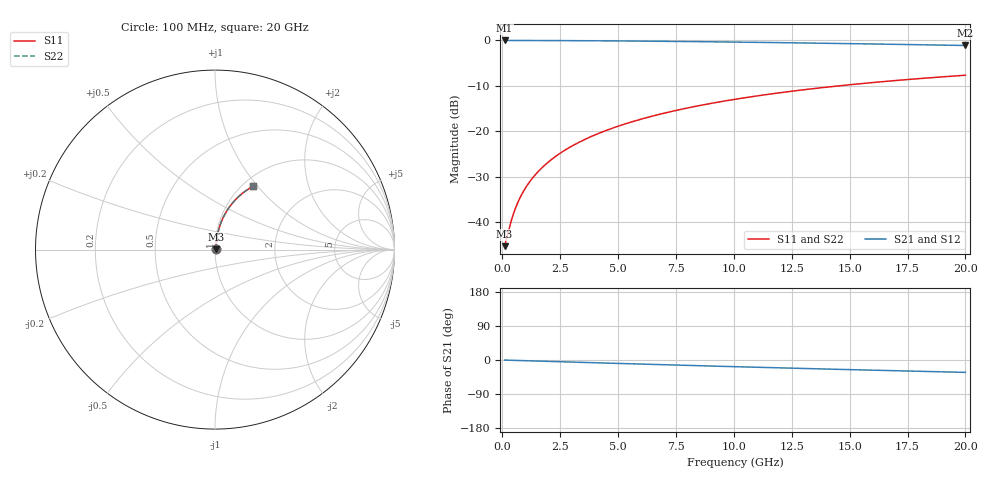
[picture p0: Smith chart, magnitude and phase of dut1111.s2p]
! Touchstone file exported from HFSS 2024.1.0
!  File:  C:/UserFiles/LocalFiles/RDL_TSV_Batchsim/temp_RDL_bottom_1111_1780054417.aedt
!  Generated:  07:36:17 PM May 29, 2026
!  Design:  RDL_bottom
!  Project:  temp_RDL_bottom_1111_1780054417
!  Setup:  Setup1
!  Solution:  Sweep
! Variables:
!  dtsv = 10.80580581um
!  hbump = 3um
!  htsv = 99.31um
!  ldown = 359.98um
!  lrdl = 100um
!  p = 40
!  p1 = 51um
!  rhole = 1um
!  t = 450um
!  tdown = 2.45um
!  trdl = 3.915915916um
!  wdown = 10.85um
!  wrdl = 20um
# GHz S MA R 50.000000
! Terminal data exported
! Port[1] = RDL1_T1
! Port[2] = RDL1_T2
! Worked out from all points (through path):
!   200 points, 100 MHz to 20 GHz, reference 50 ohm
!   highest |S21| = -0.04 dB at 100 MHz (marker M1); lowest = -1.1 dB at 20 GHz (marker M2)
!   group delay of S21, straight-line fit = 4.53 ps
!   lowest |S11| = -45.3 dB at 100 MHz (marker M3), VSWR 1.01, Z = 50.5 + j0.237 ohm
!   |S11| at or under -10 dB: start of sweep to 14.57 GHz
!   |S22| runs from -45.3 to -7.7 dB; largest |S21 - S12| = 4.4e-15
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0.1  0.005462 25.4  0.9951 -0.2  0.9951 -0.2  0.005462 25.4
! Gamma 0 0 0 0
! Port Impedance 50 0 50 0
0.3  0.008645 54.3  0.995 -0.6  0.995 -0.6  0.008645 54.3
0.4  0.01066 61.2  0.9949 -0.8  0.9949 -0.8  0.01066 61.2
0.5  0.01278 65.8  0.9948 -0.9  0.9948 -0.9  0.01278 65.8
0.6  0.01495 69.0  0.9947 -1.1  0.9947 -1.1  0.01495 69.0
0.7  0.01714 71.3  0.9946 -1.3  0.9946 -1.3  0.01714 71.3
0.9  0.02158 74.4  0.9943 -1.7  0.9943 -1.7  0.02158 74.4
1.2  0.02826 77.1  0.9939 -2.2  0.9939 -2.2  0.02826 77.1
1.4  0.03272 78.2  0.9936 -2.6  0.9936 -2.6  0.03272 78.2
1.7  0.03943 79.3  0.9931 -3.1  0.9931 -3.1  0.03943 79.3
2.2  0.05064 80.3  0.9922 -4.0  0.9922 -4.0  0.05064 80.3
2.8  0.06412 80.7  0.9908 -5.1  0.9908 -5.1  0.06412 80.7
3.5  0.07988 80.6  0.9888 -6.4  0.9888 -6.4  0.07988 80.6
4.2  0.09564 80.2  0.9865 -7.6  0.9865 -7.6  0.09564 80.3
5  0.1136 79.6  0.9834 -9.1  0.9834 -9.1  0.1136 79.6
5.9  0.1338 78.6  0.9795 -10.6  0.9795 -10.6  0.1338 78.6
6.8  0.1539 77.5  0.975 -12.2  0.975 -12.2  0.1539 77.5
8.3  0.1869 75.5  0.9666 -14.7  0.9666 -14.7  0.1869 75.5
10.1  0.2257 73.0  0.9551 -17.7  0.9551 -17.7  0.2257 73.0
13.4  0.2935 68.2  0.9311 -23.0  0.9311 -23.0  0.2935 68.2
16.7  0.356 63.5  0.9044 -27.9  0.9044 -27.9  0.356 63.5
20  0.4125 58.9  0.8763 -32.6  0.8763 -32.6  0.4126 58.9
